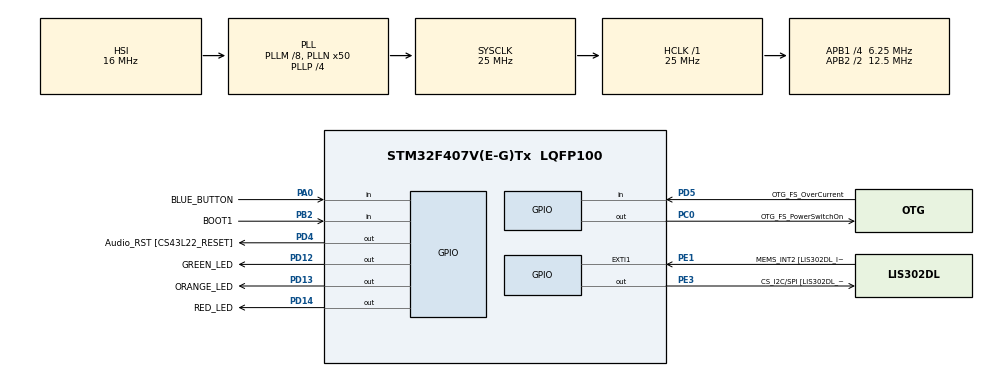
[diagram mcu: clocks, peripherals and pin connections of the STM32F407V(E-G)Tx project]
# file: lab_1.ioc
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Mcu.Family=STM32F4
Mcu.Name=STM32F407V(E-G)Tx
Mcu.Package=LQFP100
NVIC.PriorityGroup=NVIC_PRIORITYGROUP_4
NVIC.TIM7_IRQn=true\:0\:0\:false\:false\:true\:false\:true\:true
NVIC.TimeBase=TIM7_IRQn
NVIC.TimeBaseIP=TIM7
PA0-WKUP.GPIO_Label=BLUE_BUTTON
PA0-WKUP.Signal=GPIO_Input
PA10.GPIO_Label=OTG_FS_ID
PA10.GPIO_Mode=GPIO_MODE_AF_PP
PA10.GPIO_PuPd=GPIO_NOPULL
PA10.GPIO_Speed=GPIO_SPEED_FREQ_LOW
PA10.Signal=USB_OTG_FS_ID
PA11.GPIO_Label=OTG_FS_DM
PA11.GPIO_Mode=GPIO_MODE_AF_PP
PA11.GPIO_PuPd=GPIO_NOPULL
PA11.GPIO_Speed=GPIO_SPEED_FREQ_LOW
PA11.Signal=USB_OTG_FS_DM
PA12.GPIO_Label=OTG_FS_DP
PA12.GPIO_Mode=GPIO_MODE_AF_PP
PA12.GPIO_PuPd=GPIO_NOPULL
PA12.GPIO_Speed=GPIO_SPEED_FREQ_LOW
PA12.Signal=USB_OTG_FS_DP
PA13.GPIO_Label=SWDIO
PA13.Mode=Serial_Wire
PA13.Signal=SYS_JTMS-SWDIO
PA14.GPIO_Label=SWCLK
PA14.Mode=Serial_Wire
PA14.Signal=SYS_JTCK-SWCLK
PA4.GPIO_Label=I2S3_WS [CS43L22_LRCK]
PA4.GPIO_Mode=GPIO_MODE_AF_PP
PA4.GPIO_PuPd=GPIO_NOPULL
PA4.GPIO_Speed=GPIO_SPEED_FREQ_LOW
PA4.Signal=I2S3_WS
PA5.GPIO_Label=SPI1_SCK [LIS302DL_SCL/SPC]
PA5.GPIO_Mode=GPIO_MODE_AF_PP
PA5.GPIO_PuPd=GPIO_NOPULL
PA5.GPIO_Speed=GPIO_SPEED_FREQ_LOW
PA5.Signal=SPI1_SCK
PA6.GPIO_Label=SPI1_MISO [LIS302DL_SDO]
PA6.GPIO_Mode=GPIO_MODE_AF_PP
PA6.GPIO_PuPd=GPIO_NOPULL
PA6.GPIO_Speed=GPIO_SPEED_FREQ_LOW
PA6.Signal=SPI1_MISO
PA7.GPIO_Label=SPI1_MOSI [LIS302DL_SDA/SDI/SDO]
PA7.GPIO_Mode=GPIO_MODE_AF_PP
PA7.GPIO_PuPd=GPIO_NOPULL
PA7.GPIO_Speed=GPIO_SPEED_FREQ_LOW
PA7.Signal=SPI1_MOSI
PA9.GPIO_Label=VBUS_FS
PA9.GPIO_Mode=GPIO_MODE_INPUT
PA9.GPIO_PuPd=GPIO_NOPULL
PA9.Signal=USB_OTG_FS_VBUS
PB10.GPIO_Label=CLK_IN [MP45DT02_CLK]
PB10.GPIO_Mode=GPIO_MODE_AF_PP
PB10.GPIO_PuPd=GPIO_NOPULL
PB10.GPIO_Speed=GPIO_SPEED_FREQ_LOW
PB10.Signal=I2S2_CK
PB2.GPIO_Label=BOOT1
PB2.GPIO_Mode=GPIO_MODE_INPUT
PB2.GPIO_PuPd=GPIO_NOPULL
PB2.Signal=GPIO_Input
PB3.GPIO_Label=SWO
PB3.Signal=SYS_JTDO-SWO
PB6.GPIO_Label=Audio_SCL [CS43L22_SCL]
PB6.GPIO_Mode=GPIO_MODE_AF_OD
PB6.GPIO_PuPd=GPIO_NOPULL
PB6.GPIO_Speed=GPIO_SPEED_FREQ_LOW
PB6.Signal=I2C1_SCL
PB9.GPIO_Label=Audio_SDA [CS43L22_SDA]
PB9.GPIO_Mode=GPIO_MODE_AF_OD
PB9.GPIO_PuPd=GPIO_NOPULL
PB9.GPIO_Speed=GPIO_SPEED_FREQ_LOW
PB9.Signal=I2C1_SDA
PC0.GPIO_Label=OTG_FS_PowerSwitchOn
PC0.GPIO_PuPd=GPIO_NOPULL
PC0.GPIO_Speed=GPIO_SPEED_FREQ_LOW
PC0.PinState=GPIO_PIN_SET
PC0.Signal=GPIO_Output
PC10.GPIO_Label=I2S3_SCK [CS43L22_SCLK]
PC10.GPIO_Mode=GPIO_MODE_AF_PP
PC10.GPIO_PuPd=GPIO_NOPULL
PC10.GPIO_Speed=GPIO_SPEED_FREQ_LOW
PC10.Signal=I2S3_CK
PC12.GPIO_Label=I2S3_SD [CS43L22_SDIN]
PC12.GPIO_Mode=GPIO_MODE_AF_PP
PC12.GPIO_PuPd=GPIO_NOPULL
PC12.GPIO_Speed=GPIO_SPEED_FREQ_LOW
PC12.Signal=I2S3_SD
PC14-OSC32_IN.GPIO_Label=PC14-OSC32_IN
PC14-OSC32_IN.Signal=RCC_OSC32_IN
PC15-OSC32_OUT.GPIO_Label=PC15-OSC32_OUT
PC15-OSC32_OUT.Signal=RCC_OSC32_OUT
PC3.GPIO_Label=PDM_OUT [MP45DT02_DOUT]
PC3.GPIO_Mode=GPIO_MODE_AF_PP
PC3.GPIO_PuPd=GPIO_NOPULL
PC3.GPIO_Speed=GPIO_SPEED_FREQ_LOW
PC3.Signal=I2S2_SD
PC7.GPIO_Label=I2S3_MCK [CS43L22_MCLK]
PC7.GPIO_Mode=GPIO_MODE_AF_PP
PC7.GPIO_PuPd=GPIO_NOPULL
PC7.GPIO_Speed=GPIO_SPEED_FREQ_LOW
PC7.Signal=I2S3_MCK
PD12.GPIO_Label=GREEN_LED
PD12.Signal=GPIO_Output
PD13.GPIO_Label=ORANGE_LED
PD13.Signal=GPIO_Output
PD14.GPIO_Label=RED_LED
PD14.Signal=GPIO_Output
PD4.GPIO_Label=Audio_RST [CS43L22_RESET]
PD4.GPIO_PuPd=GPIO_NOPULL
PD4.GPIO_Speed=GPIO_SPEED_FREQ_LOW
PD4.Signal=GPIO_Output
PD5.GPIO_Label=OTG_FS_OverCurrent
PD5.GPIO_Mode=GPIO_MODE_INPUT
PD5.GPIO_PuPd=GPIO_NOPULL
PD5.Signal=GPIO_Input
PE1.GPIO_Label=MEMS_INT2 [LIS302DL_INT2]
PE1.GPIO_ModeDefaultEXTI=GPIO_MODE_EVT_RISING
PE1.GPIO_PuPd=GPIO_NOPULL
PE1.Signal=GPXTI1
PE3.GPIO_Label=CS_I2C/SPI [LIS302DL_CS_I2C/SPI]
PE3.GPIO_PuPd=GPIO_NOPULL
PE3.GPIO_Speed=GPIO_SPEED_FREQ_LOW
PE3.Signal=GPIO_Output
PH0-OSC_IN.GPIO_Label=PH0-OSC_IN
PH0-OSC_IN.Signal=RCC_OSC_IN
PH1-OSC_OUT.GPIO_Label=PH1-OSC_OUT
PH1-OSC_OUT.Signal=RCC_OSC_OUT
ProjectManager.HeapSize=0x200
ProjectManager.StackSize=0x400
ProjectManager.TargetToolchain=STM32CubeIDE
RCC.48MHZClocksFreq_Value=14285714.285714285
RCC.AHBFreq_Value=25000000
RCC.APB1CLKDivider=RCC_HCLK_DIV4
RCC.APB1Freq_Value=6250000
RCC.APB1TimFreq_Value=12500000
RCC.APB2CLKDivider=RCC_HCLK_DIV2
RCC.APB2Freq_Value=12500000
RCC.APB2TimFreq_Value=25000000
RCC.CortexFreq_Value=25000000
RCC.HCLKFreq_Value=25000000
RCC.HSE_VALUE=8000000
RCC.HSI_VALUE=16000000
RCC.LSE_VALUE=32768
RCC.PLLM=8
RCC.PLLN=50
RCC.PLLP=RCC_PLLP_DIV4
RCC.PLLQ=7
RCC.SYSCLKFreq_VALUE=25000000
RCC.SYSCLKSource=RCC_SYSCLKSOURCE_PLLCLK
RCC.VCOOutputFreq_Value=100000000
VP_SYS_VS_tim7.Mode=TIM7
board=STM32F407G-DISC1

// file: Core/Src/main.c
/* USER CODE BEGIN Header */
/**
  ******************************************************************************
  * @file           : main.c
  * @brief          : Main program body
  ******************************************************************************
  * @attention
  *
  * Copyright (c) 2026 STMicroelectronics.
  * All rights reserved.
  *
  * This software is licensed under terms that can be found in the LICENSE file
  * in the root directory of this software component.
  * If no LICENSE file comes with this software, it is provided AS-IS.
  *
  ******************************************************************************
  */
/* USER CODE END Header */
#include "main.h"

/* USER CODE BEGIN Includes */
#include "FreeRTOS.h"
#include "task.h"
#include "queue.h"
/* USER CODE END Includes */

/* USER CODE BEGIN PV */
TaskHandle_t xLEDTaskHandle=NULL;
QueueHandle_t xStateQueue=NULL;

/* USER CODE END PV */

void SystemClock_Config(void);
static void MX_GPIO_Init(void);
void vLEDTask(void *pvParameters);
void vButtonTask(void *pvParameters);

int main(void)
{

  /* MCU Configuration--------------------------------------------------------*/

  /* Reset of all peripherals, Initializes the Flash interface and the Systick. */
  HAL_Init();

  /* Configure the system clock */
  SystemClock_Config();

  /* Initialize all configured peripherals */
  MX_GPIO_Init();
  /* USER CODE BEGIN 2 */
  xStateQueue=xQueueCreate(1,sizeof(int));
  xTaskCreate(vLEDTask,"LEDTask",128,NULL,1,&xLEDTaskHandle);
  xTaskCreate(vButtonTask,"ButtonTask",128,NULL,1,NULL);

  /* USER CODE END 2 */

  /* Infinite loop */
  /* USER CODE BEGIN WHILE */
  vTaskStartScheduler();
  while (1)
  {
    /* USER CODE END WHILE */

  }
}

void SystemClock_Config(void)
{
  RCC_OscInitTypeDef RCC_OscInitStruct = {0};
  RCC_ClkInitTypeDef RCC_ClkInitStruct = {0};

  /** Configure the main internal regulator output voltage
  */
  __HAL_RCC_PWR_CLK_ENABLE();
  __HAL_PWR_VOLTAGESCALING_CONFIG(PWR_REGULATOR_VOLTAGE_SCALE1);

  /** Initializes the RCC Oscillators according to the specified parameters
  * in the RCC_OscInitTypeDef structure.
  */
  RCC_OscInitStruct.OscillatorType = RCC_OSCILLATORTYPE_HSI;
  RCC_OscInitStruct.HSIState = RCC_HSI_ON;
  RCC_OscInitStruct.HSICalibrationValue = RCC_HSICALIBRATION_DEFAULT;
  RCC_OscInitStruct.PLL.PLLState = RCC_PLL_ON;
  RCC_OscInitStruct.PLL.PLLSource = RCC_PLLSOURCE_HSI;
  RCC_OscInitStruct.PLL.PLLM = 8;
  RCC_OscInitStruct.PLL.PLLN = 50;
  RCC_OscInitStruct.PLL.PLLP = RCC_PLLP_DIV4;
  RCC_OscInitStruct.PLL.PLLQ = 7;
  if (HAL_RCC_OscConfig(&RCC_OscInitStruct) != HAL_OK)
  {
    Error_Handler();
  }

  /** Initializes the CPU, AHB and APB buses clocks
  */
  RCC_ClkInitStruct.ClockType = RCC_CLOCKTYPE_HCLK|RCC_CLOCKTYPE_SYSCLK
                              |RCC_CLOCKTYPE_PCLK1|RCC_CLOCKTYPE_PCLK2;
  RCC_ClkInitStruct.SYSCLKSource = RCC_SYSCLKSOURCE_PLLCLK;
  RCC_ClkInitStruct.AHBCLKDivider = RCC_SYSCLK_DIV1;
  RCC_ClkInitStruct.APB1CLKDivider = RCC_HCLK_DIV4;
  RCC_ClkInitStruct.APB2CLKDivider = RCC_HCLK_DIV2;

  if (HAL_RCC_ClockConfig(&RCC_ClkInitStruct, FLASH_LATENCY_0) != HAL_OK)
  {
    Error_Handler();
  }
}

static void MX_GPIO_Init(void)
{
  GPIO_InitTypeDef GPIO_InitStruct = {0};

  /* GPIO Ports Clock Enable */
  __HAL_RCC_GPIOE_CLK_ENABLE();
  __HAL_RCC_GPIOC_CLK_ENABLE();
  __HAL_RCC_GPIOH_CLK_ENABLE();
  __HAL_RCC_GPIOA_CLK_ENABLE();
  __HAL_RCC_GPIOB_CLK_ENABLE();
  __HAL_RCC_GPIOD_CLK_ENABLE();

  /*Configure GPIO pin Output Level */
  HAL_GPIO_WritePin(CS_I2C_SPI_GPIO_Port, CS_I2C_SPI_Pin, GPIO_PIN_RESET);

  /*Configure GPIO pin Output Level */
  HAL_GPIO_WritePin(OTG_FS_PowerSwitchOn_GPIO_Port, OTG_FS_PowerSwitchOn_Pin, GPIO_PIN_SET);

  /*Configure GPIO pin Output Level */
  HAL_GPIO_WritePin(GPIOD, GREEN_LED_Pin|ORANGE_LED_Pin|RED_LED_Pin|Audio_RST_Pin, GPIO_PIN_RESET);

  /*Configure GPIO pin : CS_I2C_SPI_Pin */
  GPIO_InitStruct.Pin = CS_I2C_SPI_Pin;
  GPIO_InitStruct.Mode = GPIO_MODE_OUTPUT_PP;
  GPIO_InitStruct.Pull = GPIO_NOPULL;
  GPIO_InitStruct.Speed = GPIO_SPEED_FREQ_LOW;
  HAL_GPIO_Init(CS_I2C_SPI_GPIO_Port, &GPIO_InitStruct);

  /*Configure GPIO pin : OTG_FS_PowerSwitchOn_Pin */
  GPIO_InitStruct.Pin = OTG_FS_PowerSwitchOn_Pin;
  GPIO_InitStruct.Mode = GPIO_MODE_OUTPUT_PP;
  GPIO_InitStruct.Pull = GPIO_NOPULL;
  GPIO_InitStruct.Speed = GPIO_SPEED_FREQ_LOW;
  HAL_GPIO_Init(OTG_FS_PowerSwitchOn_GPIO_Port, &GPIO_InitStruct);

  /*Configure GPIO pin : PDM_OUT_Pin */
  GPIO_InitStruct.Pin = PDM_OUT_Pin;
  GPIO_InitStruct.Mode = GPIO_MODE_AF_PP;
  GPIO_InitStruct.Pull = GPIO_NOPULL;
  GPIO_InitStruct.Speed = GPIO_SPEED_FREQ_LOW;
  GPIO_InitStruct.Alternate = GPIO_AF5_SPI2;
  HAL_GPIO_Init(PDM_OUT_GPIO_Port, &GPIO_InitStruct);

  /*Configure GPIO pin : BLUE_BUTTON_Pin */
  GPIO_InitStruct.Pin = BLUE_BUTTON_Pin;
  GPIO_InitStruct.Mode = GPIO_MODE_INPUT;
  GPIO_InitStruct.Pull = GPIO_NOPULL;
  HAL_GPIO_Init(BLUE_BUTTON_GPIO_Port, &GPIO_InitStruct);

  /*Configure GPIO pin : I2S3_WS_Pin */
  GPIO_InitStruct.Pin = I2S3_WS_Pin;
  GPIO_InitStruct.Mode = GPIO_MODE_AF_PP;
  GPIO_InitStruct.Pull = GPIO_NOPULL;
  GPIO_InitStruct.Speed = GPIO_SPEED_FREQ_LOW;
  GPIO_InitStruct.Alternate = GPIO_AF6_SPI3;
  HAL_GPIO_Init(I2S3_WS_GPIO_Port, &GPIO_InitStruct);

  /*Configure GPIO pins : SPI1_SCK_Pin SPI1_MISO_Pin SPI1_MOSI_Pin */
  GPIO_InitStruct.Pin = SPI1_SCK_Pin|SPI1_MISO_Pin|SPI1_MOSI_Pin;
  GPIO_InitStruct.Mode = GPIO_MODE_AF_PP;
  GPIO_InitStruct.Pull = GPIO_NOPULL;
  GPIO_InitStruct.Speed = GPIO_SPEED_FREQ_LOW;
  GPIO_InitStruct.Alternate = GPIO_AF5_SPI1;
  HAL_GPIO_Init(GPIOA, &GPIO_InitStruct);

  /*Configure GPIO pin : BOOT1_Pin */
  GPIO_InitStruct.Pin = BOOT1_Pin;
  GPIO_InitStruct.Mode = GPIO_MODE_INPUT;
  GPIO_InitStruct.Pull = GPIO_NOPULL;
  HAL_GPIO_Init(BOOT1_GPIO_Port, &GPIO_InitStruct);

  /*Configure GPIO pin : CLK_IN_Pin */
  GPIO_InitStruct.Pin = CLK_IN_Pin;
  GPIO_InitStruct.Mode = GPIO_MODE_AF_PP;
  GPIO_InitStruct.Pull = GPIO_NOPULL;
  GPIO_InitStruct.Speed = GPIO_SPEED_FREQ_LOW;
  GPIO_InitStruct.Alternate = GPIO_AF5_SPI2;
  HAL_GPIO_Init(CLK_IN_GPIO_Port, &GPIO_InitStruct);

  /*Configure GPIO pins : GREEN_LED_Pin ORANGE_LED_Pin RED_LED_Pin Audio_RST_Pin */
  GPIO_InitStruct.Pin = GREEN_LED_Pin|ORANGE_LED_Pin|RED_LED_Pin|Audio_RST_Pin;
  GPIO_InitStruct.Mode = GPIO_MODE_OUTPUT_PP;
  GPIO_InitStruct.Pull = GPIO_NOPULL;
  GPIO_InitStruct.Speed = GPIO_SPEED_FREQ_LOW;
  HAL_GPIO_Init(GPIOD, &GPIO_InitStruct);

  /*Configure GPIO pins : I2S3_MCK_Pin I2S3_SCK_Pin I2S3_SD_Pin */
  GPIO_InitStruct.Pin = I2S3_MCK_Pin|I2S3_SCK_Pin|I2S3_SD_Pin;
  GPIO_InitStruct.Mode = GPIO_MODE_AF_PP;
  GPIO_InitStruct.Pull = GPIO_NOPULL;
  GPIO_InitStruct.Speed = GPIO_SPEED_FREQ_LOW;
  GPIO_InitStruct.Alternate = GPIO_AF6_SPI3;
  HAL_GPIO_Init(GPIOC, &GPIO_InitStruct);

  /*Configure GPIO pin : VBUS_FS_Pin */
  GPIO_InitStruct.Pin = VBUS_FS_Pin;
  GPIO_InitStruct.Mode = GPIO_MODE_INPUT;
  GPIO_InitStruct.Pull = GPIO_NOPULL;
  HAL_GPIO_Init(VBUS_FS_GPIO_Port, &GPIO_InitStruct);

  /*Configure GPIO pins : OTG_FS_ID_Pin OTG_FS_DM_Pin OTG_FS_DP_Pin */
  GPIO_InitStruct.Pin = OTG_FS_ID_Pin|OTG_FS_DM_Pin|OTG_FS_DP_Pin;
  GPIO_InitStruct.Mode = GPIO_MODE_AF_PP;
  GPIO_InitStruct.Pull = GPIO_NOPULL;
  GPIO_InitStruct.Speed = GPIO_SPEED_FREQ_LOW;
  GPIO_InitStruct.Alternate = GPIO_AF10_OTG_FS;
  HAL_GPIO_Init(GPIOA, &GPIO_InitStruct);

  /*Configure GPIO pin : OTG_FS_OverCurrent_Pin */
  GPIO_InitStruct.Pin = OTG_FS_OverCurrent_Pin;
  GPIO_InitStruct.Mode = GPIO_MODE_INPUT;
  GPIO_InitStruct.Pull = GPIO_NOPULL;
  HAL_GPIO_Init(OTG_FS_OverCurrent_GPIO_Port, &GPIO_InitStruct);

  /*Configure GPIO pins : Audio_SCL_Pin Audio_SDA_Pin */
  GPIO_InitStruct.Pin = Audio_SCL_Pin|Audio_SDA_Pin;
  GPIO_InitStruct.Mode = GPIO_MODE_AF_OD;
  GPIO_InitStruct.Pull = GPIO_NOPULL;
  GPIO_InitStruct.Speed = GPIO_SPEED_FREQ_LOW;
  GPIO_InitStruct.Alternate = GPIO_AF4_I2C1;
  HAL_GPIO_Init(GPIOB, &GPIO_InitStruct);

  /*Configure GPIO pin : MEMS_INT2_Pin */
  GPIO_InitStruct.Pin = MEMS_INT2_Pin;
  GPIO_InitStruct.Mode = GPIO_MODE_EVT_RISING;
  GPIO_InitStruct.Pull = GPIO_NOPULL;
  HAL_GPIO_Init(MEMS_INT2_GPIO_Port, &GPIO_InitStruct);

}

/* USER CODE BEGIN 4 */

void vLEDTask(void *pvParameters)
{
    int currentState = 1;
    int ledStep = 0;
    int receivedState = 0;

    HAL_GPIO_WritePin(GPIOD, RED_LED_Pin | ORANGE_LED_Pin | GREEN_LED_Pin, GPIO_PIN_RESET);

    for(;;)
    {
        if (currentState == 1)
        {
            if (ledStep == 0) {
                HAL_GPIO_WritePin(GPIOD, RED_LED_Pin, GPIO_PIN_SET);
                HAL_GPIO_WritePin(GPIOD, ORANGE_LED_Pin | GREEN_LED_Pin, GPIO_PIN_RESET);
            } else if (ledStep == 1) {
                HAL_GPIO_WritePin(GPIOD, ORANGE_LED_Pin, GPIO_PIN_SET);
                HAL_GPIO_WritePin(GPIOD, RED_LED_Pin | GREEN_LED_Pin, GPIO_PIN_RESET);
            } else if (ledStep == 2) {
                HAL_GPIO_WritePin(GPIOD, GREEN_LED_Pin, GPIO_PIN_SET);
                HAL_GPIO_WritePin(GPIOD, RED_LED_Pin | ORANGE_LED_Pin, GPIO_PIN_RESET);
            }

            if (xQueueReceive(xStateQueue, &receivedState, pdMS_TO_TICKS(1000)) == pdTRUE)
            {
                currentState = receivedState;

                HAL_GPIO_WritePin(GPIOD, RED_LED_Pin | ORANGE_LED_Pin | GREEN_LED_Pin, GPIO_PIN_RESET);
            }
            else
            {
                ledStep = (ledStep + 1) % 3;
            }
        }
        else if (currentState == 2)
        {

            HAL_GPIO_TogglePin(GPIOD, ORANGE_LED_Pin);

            HAL_GPIO_WritePin(GPIOD, RED_LED_Pin | GREEN_LED_Pin, GPIO_PIN_RESET);

            if (xQueueReceive(xStateQueue, &receivedState, pdMS_TO_TICKS(500)) == pdTRUE)
            {
                currentState = receivedState;

                HAL_GPIO_WritePin(GPIOD, RED_LED_Pin | ORANGE_LED_Pin | GREEN_LED_Pin, GPIO_PIN_RESET);
                ledStep = 0;
            }
        }
    }
}

void vButtonTask(void *pvParameters)
{
    int targetState = 2;
    int isSuspended = 0;
    TickType_t pressStartTime;
    TickType_t pressDuration;

    for(;;)
    {
        if (HAL_GPIO_ReadPin(BLUE_BUTTON_GPIO_Port, BLUE_BUTTON_Pin) == GPIO_PIN_SET)
        {
            vTaskDelay(pdMS_TO_TICKS(20));

            if (HAL_GPIO_ReadPin(BLUE_BUTTON_GPIO_Port, BLUE_BUTTON_Pin) == GPIO_PIN_SET)
            {
                pressStartTime = xTaskGetTickCount();

                while (HAL_GPIO_ReadPin(BLUE_BUTTON_GPIO_Port, BLUE_BUTTON_Pin) == GPIO_PIN_SET)
                {
                    vTaskDelay(pdMS_TO_TICKS(10)); // 放個小延遲，避免把 CPU 卡死
                }

                pressDuration = (xTaskGetTickCount() - pressStartTime) * portTICK_PERIOD_MS;

                if (pressDuration >= 1000)
                {
                    if (isSuspended == 0) {
                        vTaskSuspend(xLEDTaskHandle);
                        isSuspended = 1;
                    } else {
                        vTaskResume(xLEDTaskHandle);
                        isSuspended = 0;
                    }
                }
                else if (pressDuration > 20)
                {
                    xQueueSend(xStateQueue, &targetState, 0);

                    if (targetState == 1) {
                        targetState = 2;
                    } else {
                        targetState = 1;
                    }
                }
            }
        }

        vTaskDelay(pdMS_TO_TICKS(10));
    }
}

/* USER CODE END 4 */

void HAL_TIM_PeriodElapsedCallback(TIM_HandleTypeDef *htim)
{
  if (htim->Instance == TIM7) {
    HAL_IncTick();
  }
}

void Error_Handler(void)
{
  __disable_irq();
  while (1)
  {
  }
}
